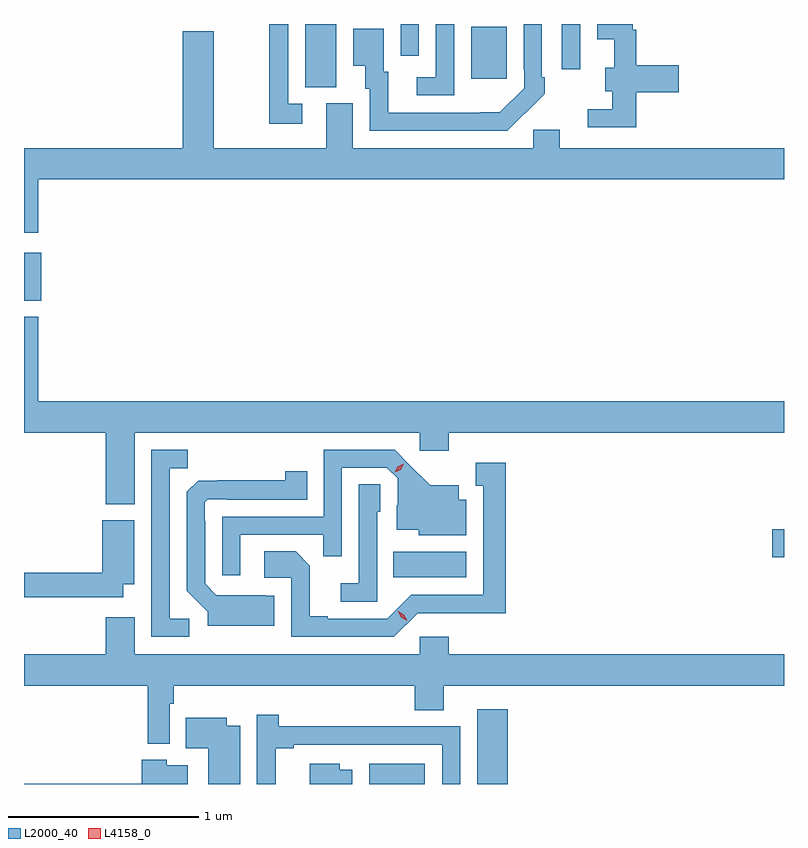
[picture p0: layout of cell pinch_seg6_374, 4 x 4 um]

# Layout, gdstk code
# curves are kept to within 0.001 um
import gdstk
lib = gdstk.Library(unit=1e-6, precision=1e-09)
def R(c, l, rs):  # rectangles x0, y0, x1, y1
    for r in rs: c.add(gdstk.rectangle(r[:2], r[2:], *l))
def P(c, l, *ps):  # polygons
    for p in ps: c.add(gdstk.Polygon(p, *l))
L2000_40 = (2000, 40)
L4158_0 = (4158, 0)

pinch_seg6_374 = lib.new_cell('pinch_seg6_374')
R(pinch_seg6_374, L2000_40, [(659.828,952.146,660.121,952.252), (660.398,952.146,660.557,952.54), (659.956,953.234,660.34,953.368), (661.95,953.339,662.012,953.486), (658.012,954.689,658.102,954.943), (659.492,955.813,659.656,956.146), (660.365,955.857,660.553,956.131), (660.843,955.908,660.939,956.146), (659.994,955.98,660.09,956.146)])
P(pinch_seg6_374, L2000_40, [(660.647,955.675),(660.648,955.674),(660.753,955.779),(660.753,955.867),(660.738,955.867),(660.738,956.146),(660.642,956.146),(660.642,955.909),(660.645,955.909),(660.645,955.809),(660.517,955.681),(659.929,955.68),(659.929,955.896),(659.905,955.896),(659.905,956.122),(659.744,956.122),(659.744,955.925),(659.807,955.925),(659.807,955.806),(659.832,955.806),(659.832,955.584),(660.556,955.584)],
  [(660.276,956.146),(660.18,956.146),(660.18,955.866),(660.078,955.866),(660.078,955.77),(660.276,955.77)],
  [(659.476,955.725),(659.403,955.725),(659.403,956.146),(659.307,956.146),(659.307,956.144),(659.302,956.144),(659.302,955.62),(659.476,955.62)],
  [(661.235,955.786),(661.459,955.786),(661.459,955.928),(661.235,955.928),(661.235,956.115),(661.216,956.115),(661.216,956.146),(661.028,956.146),(661.028,956.066),(661.118,956.066),(661.118,955.915),(661.07,955.915),(661.07,955.793),(661.107,955.793),(661.107,955.698),(660.978,955.698),(660.978,955.602),(661.235,955.602)],
  [(658.087,955.328),(662.012,955.328),(662.012,955.492),(660.832,955.492),(660.832,955.59),(660.693,955.59),(660.693,955.492),(659.743,955.492),(659.743,955.728),(659.603,955.728),(659.603,955.492),(659.011,955.492),(659.011,956.107),(658.847,956.107),(658.847,955.492),(658.012,955.492),(658.012,955.047),(658.087,955.047)],
  [(658.594,953.996),(660.096,953.996),(660.096,953.901),(660.248,953.901),(660.248,953.996),(662.012,953.996),(662.012,954.16),(658.087,954.16),(658.087,954.604),(658.012,954.604),(658.012,953.996),(658.442,953.996),(658.442,953.618),(658.594,953.618)],
  [(659.151,953.457),(659.587,953.457),(659.587,953.344),(659.685,953.344),(659.685,953.811),(659.922,953.811),(659.979,953.754),(659.979,953.612),(659.975,953.612),(659.975,953.483),(660.09,953.483),(660.09,953.456),(660.34,953.456),(660.34,953.641),(660.301,953.641),(660.301,953.719),(660.149,953.719),(659.962,953.904),(659.589,953.904),(659.589,953.553),(659.055,953.553),(659.055,953.244),(659.151,953.244)],
  [(658.882,953.016),(658.779,953.016),(658.779,953.809),(658.875,953.809),(658.875,953.904),(658.683,953.904),(658.683,952.92),(658.882,952.92)],
  [(660.084,953.046),(660.547,953.045),(660.547,953.836),(660.389,953.836),(660.389,953.715),(660.428,953.715),(660.428,953.142),(660.051,953.142),(659.925,953.016),(659.611,953.016),(659.611,953.029),(659.517,953.029),(659.517,953.296),(659.441,953.372),(659.277,953.372),(659.277,953.232),(659.418,953.232),(659.418,952.92),(659.958,952.92)],
  [(659.329,953.137),(659.285,953.137),(659.282,953.14),(659.025,953.139),(658.965,953.199),(658.965,953.528),(658.962,953.528),(658.962,953.628),(658.98,953.646),(659.08,953.646),(659.08,953.643),(659.504,953.643),(659.504,953.791),(659.386,953.791),(659.386,953.744),(658.928,953.743),(658.869,953.684),(658.869,953.162),(658.979,953.052),(658.979,952.979),(659.329,952.979)],
  [(659.871,953.58),(659.886,953.58),(659.886,953.723),(659.775,953.723),(659.775,953.203),(659.679,953.203),(659.679,953.106),(659.871,953.106)],
  [(658.534,953.198),(658.591,953.198),(658.591,953.533),(658.424,953.533),(658.424,953.258),(658.012,953.258),(658.012,953.13),(658.534,953.13)],
  [(658.779,952.568),(658.799,952.568),(658.799,952.664),(660.068,952.664),(660.068,952.534),(660.22,952.534),(660.22,952.664),(662.012,952.664),(662.012,952.828),(660.248,952.828),(660.248,952.921),(660.096,952.921),(660.096,952.828),(658.594,952.828),(658.594,953.023),(658.442,953.023),(658.442,952.828),(658.012,952.828),(658.012,952.664),(658.663,952.664),(658.663,952.358),(658.779,952.358)],
  [(659.336,952.333),(659.431,952.333),(659.431,952.353),(660.213,952.353),(660.213,952.146),(660.309,952.146),(660.309,952.449),(659.984,952.449),(659.984,952.451),(659.354,952.451),(659.354,952.51),(659.238,952.51),(659.238,952.146),(659.336,952.146)],
  [(659.149,952.453),(659.08,952.453),(659.08,952.495),(658.864,952.495),(658.864,952.334),(658.982,952.334),(658.982,952.146),(659.149,952.146)],
  [(658.873,952.246),(658.764,952.246),(658.764,952.273),(658.631,952.273),(658.631,952.148),(658.012,952.148),(658.012,952.146),(658.873,952.146)],
  [(659.74,952.222),(659.674,952.222),(659.674,952.252),(659.516,952.252),(659.516,952.146),(659.74,952.146)])
P(pinch_seg6_374, L4158_0, [(660.028,953.005),(659.997,953.024),(659.979,953.057),(659.979,953.057),(659.98,953.057),(660.011,953.038),(660.028,953.005),(660.028,953.005)],
  [(659.964,953.786),(659.964,953.787),(659.98,953.816),(660.011,953.831),(660.011,953.831),(660.011,953.831),(659.994,953.801),(659.964,953.786)])

lib.write_gds('pinch_seg6_374.gds')
